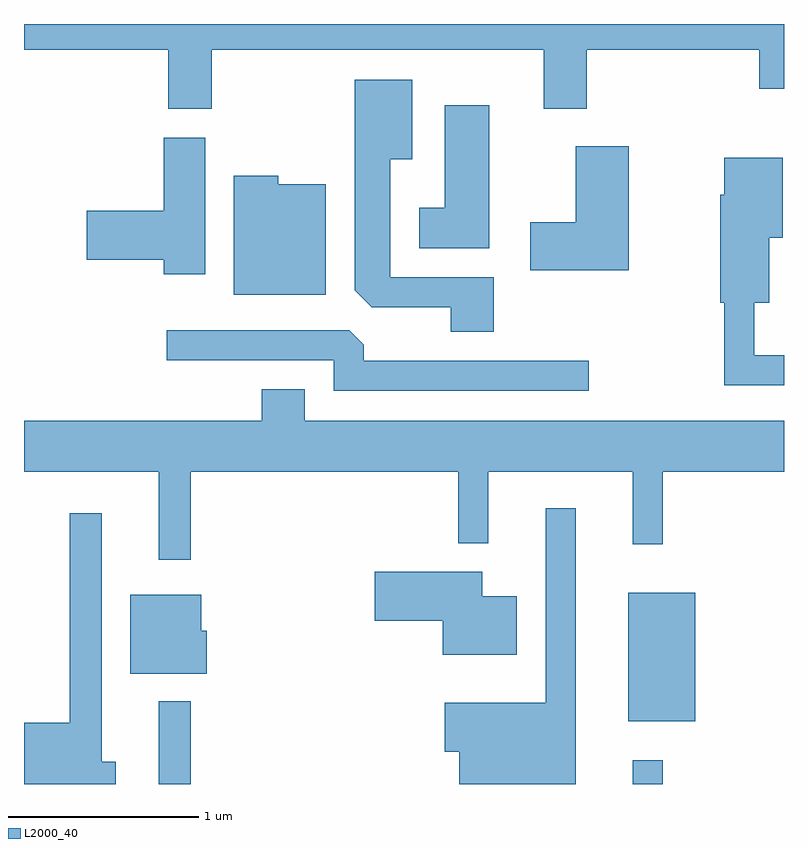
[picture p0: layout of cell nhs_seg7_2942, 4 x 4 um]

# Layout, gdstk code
import gdstk
lib = gdstk.Library(unit=1e-6, precision=1e-09)
def R(c, l, rs):  # rectangles x0, y0, x1, y1
    for r in rs: c.add(gdstk.rectangle(r[:2], r[2:], *l))
def P(c, l, *ps):  # polygons
    for p in ps: c.add(gdstk.Polygon(p, *l))
L2000_40 = (2000, 40)

nhs_seg7_2942 = lib.new_cell('nhs_seg7_2942')
R(nhs_seg7_2942, L2000_40, [(276.321,1688.252,276.489,1688.688), (278.816,1688.252,278.974,1688.378), (278.791,1688.581,279.144,1689.259)])
P(nhs_seg7_2942, L2000_40, [(276.599,1692.116),(278.346,1692.116),(278.346,1691.806),(278.574,1691.806),(278.574,1692.116),(279.481,1692.116),(279.481,1691.911),(279.611,1691.911),(279.611,1692.252),(275.611,1692.252),(275.611,1692.116),(276.371,1692.116),(276.371,1691.806),(276.599,1691.806)],
  [(278.084,1690.919),(277.539,1690.919),(277.539,1691.541),(277.654,1691.541),(277.654,1691.959),(277.351,1691.959),(277.351,1690.852),(277.442,1690.761),(277.856,1690.761),(277.856,1690.631),(278.084,1690.631)],
  [(278.059,1691.824),(277.826,1691.824),(277.826,1691.284),(277.691,1691.284),(277.691,1691.071),(278.059,1691.071)],
  [(276.564,1691.654),(276.346,1691.654),(276.346,1691.269),(275.941,1691.269),(275.941,1691.011),(276.346,1691.011),(276.346,1690.936),(276.564,1690.936)],
  [(278.794,1691.609),(278.516,1691.609),(278.516,1691.209),(278.276,1691.209),(278.276,1690.956),(278.794,1690.956)],
  [(279.611,1690.509),(279.454,1690.509),(279.454,1690.786),(279.534,1690.786),(279.534,1691.126),(279.604,1691.126),(279.604,1691.549),(279.296,1691.549),(279.296,1691.354),(279.276,1691.354),(279.276,1690.786),(279.296,1690.786),(279.296,1690.351),(279.611,1690.351)],
  [(277.199,1691.409),(276.949,1691.409),(276.949,1691.454),(276.716,1691.454),(276.716,1690.826),(277.199,1690.826)],
  [(278.583,1690.479),(277.399,1690.479),(277.399,1690.564),(277.324,1690.639),(276.363,1690.639),(276.363,1690.481),(277.241,1690.481),(277.241,1690.321),(278.583,1690.321)],
  [(277.089,1690.329),(276.861,1690.329),(276.861,1690.164),(275.611,1690.164),(275.611,1689.896),(276.321,1689.896),(276.321,1689.433),(276.489,1689.433),(276.489,1689.896),(277.896,1689.896),(277.896,1689.518),(278.054,1689.518),(278.054,1689.896),(278.816,1689.896),(278.816,1689.513),(278.974,1689.513),(278.974,1689.896),(279.611,1689.896),(279.611,1690.164),(277.089,1690.164)],
  [(278.514,1689.703),(278.356,1689.703),(278.356,1688.679),(277.826,1688.679),(277.826,1688.421),(277.901,1688.421),(277.901,1688.252),(278.514,1688.252)],
  [(276.094,1688.369),(276.019,1688.369),(276.019,1689.678),(275.851,1689.678),(275.851,1688.574),(275.611,1688.574),(275.611,1688.252),(276.094,1688.252)],
  [(278.204,1689.239),(278.024,1689.239),(278.024,1689.369),(277.456,1689.369),(277.456,1689.111),(277.816,1689.111),(277.816,1688.931),(278.204,1688.931)],
  [(276.574,1689.059),(276.544,1689.059),(276.544,1689.249),(276.171,1689.249),(276.171,1688.831),(276.574,1688.831)])

lib.write_gds('nhs_seg7_2942.gds')
